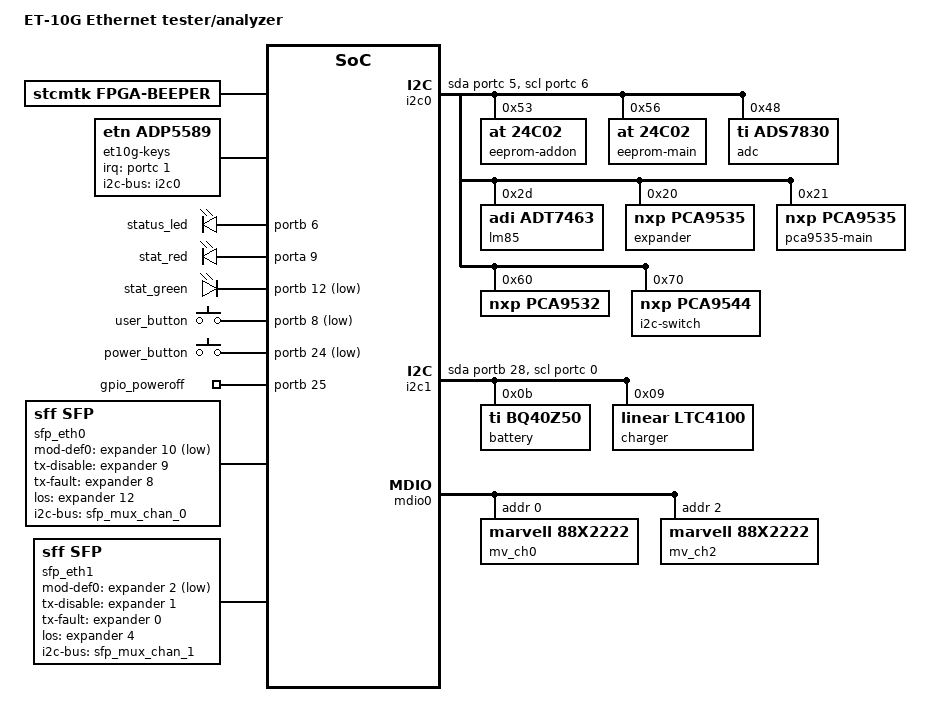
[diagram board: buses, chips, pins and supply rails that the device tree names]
/*
 * Copyright Altera Corporation (C) 2012,2014. All rights reserved.
 *
 * This program is free software; you can redistribute it and/or modify
 * it under the terms and conditions of the GNU General Public License,
 * version 2, as published by the Free Software Foundation.
 *
 * This program is distributed in the hope it will be useful, but WITHOUT
 * ANY WARRANTY; without even the implied warranty of MERCHANTABILITY or
 * FITNESS FOR A PARTICULAR PURPOSE.  See the GNU General Public License for
 * more details.
 *
 * You should have received a copy of the GNU General Public License along with
 * this program.  If not, see <http://www.gnu.org/licenses/>.
 */

#include <dt-bindings/leds/leds-pca9532.h>
#include "socfpga_cyclone5_stcmtk.dtsi"

/ {
	model = "ET-10G Ethernet tester/analyzer";

	cpu-gpio {
		compatible = "linux,gpio-exporter";
		status = "okay";
		exported-gpios = <&portb 19 GPIO_ACTIVE_HIGH>,
			<&portb 27 GPIO_ACTIVE_HIGH>,
			<&portb 22 GPIO_ACTIVE_HIGH>;
		exported-gpio-names = "sfpp-pwr-en",
			"eeprom-addon-write-protect",
			"smbus-alert";
		exported-gpio-directions = "high",
			"high",
			"in";
	};

	soc {
		ethernet@ff702000 {
			phy-mode = "rgmii-id";
		};

		
		etn-fb {
			compatible = "etn,fb";
			etn-fb,fps = <100>;
			etn-fb,use_fpga2sdram;
			target-fpga = <&fpga>;
		};

		fpga-beeper {
			compatible = "stcmtk,fpga-beeper";
			target-fpga = <&fpga>;
		};

		et10g-keys {
			compatible = "etn,adp5589";
			i2c-bus = <&i2c0>;
			addr = <0x34>;
			interrupt-parent = <&portc>;
			interrupts = <1 2>;
			adp5589,scan-cycle-time-ms = <40>;
			adp5589,pullup-300k = < (~0) >;
			linux,autorepeat-delay = <500>; /* miliseconds */
			linux,autorepeat-period = <50>; /* miliseconds */
			linux,keymap = <
				MATRIX_KEY(0, 0, KEY_KPASTERISK)
				MATRIX_KEY(1, 0, KEY_7)
				MATRIX_KEY(2, 0, KEY_4)
				MATRIX_KEY(3, 0, KEY_1)
				MATRIX_KEY(4, 0, KEY_HOME)
				MATRIX_KEY(5, 0, KEY_LEFT)
				MATRIX_KEY(6, 0, KEY_ESC)
				MATRIX_KEY(7, 0, KEY_F1)
				MATRIX_KEY(0, 1, KEY_0)
				MATRIX_KEY(1, 1, KEY_8)
				MATRIX_KEY(2, 1, KEY_5)
				MATRIX_KEY(3, 1, KEY_2)
				MATRIX_KEY(4, 1, KEY_DOWN)
				MATRIX_KEY(5, 1, KEY_UP)
				MATRIX_KEY(6, 1, KEY_F2)
				MATRIX_KEY(7, 1, KEY_F3)
				MATRIX_KEY(0, 2, KEY_GRAVE)
				MATRIX_KEY(1, 2, KEY_9)
				MATRIX_KEY(2, 2, KEY_6)
				MATRIX_KEY(3, 2, KEY_3)
				MATRIX_KEY(4, 2, KEY_END)
				MATRIX_KEY(5, 2, KEY_RIGHT)
				MATRIX_KEY(6, 2, KEY_ENTER)
				MATRIX_KEY(7, 2, KEY_F4)
				>;
		};

		i2c0: i2c@ffc04000 {
			scl-gpios = <&portc 6 GPIO_ACTIVE_HIGH>;
			sda-gpios = <&portc 5 GPIO_ACTIVE_HIGH>;

			eeprom-addon@53 {
				compatible = "at,24c02";
				reg = <0x53>;
				status = "okay";
			};

			eeprom-main@56 {
				compatible = "at,24c02";
				reg = <0x56>;
				status = "okay";
			};

			adc@48 {
				compatible = "ti,ads7830";
				reg = <0x48>;
				status = "okay";
			};

			lm85: lm85@2d {
				compatible = "adi,adt7463";
				reg = <0x2d>;
			};

			expander: pca9535-addon@20 {
				compatible = "nxp,pca9535";
				gpio-controller;
				#gpio-cells = <2>;
				reg = <0x20>;
				pinctrl-names = "default";
				/*
				interrupt-parent = <&portb>;
				interrupts = <23 IRQ_TYPE_LEVEL_LOW>;
				interrupt-controller;
				#interrupt-cells = <2>;
				*/
			};

			pca9535-main@21 {
				compatible = "nxp,pca9535";
				gpio-controller;
				#gpio-cells = <2>;
				reg = <0x21>;
				pinctrl-names = "default";
				/*
				interrupt-parent = <&portb>;
				interrupts = <23 IRQ_TYPE_LEVEL_LOW>;
				interrupt-controller;
				#interrupt-cells = <2>;
				*/
			};

			pca9532: pca9532@60 {
				compatible = "nxp,pca9532";
/*				gpio-controller;
				#gpio-cells = <2>;
				#address-cells = <1>;
				#size-cells = <0>;*/
				reg = <0x60>;
				status = "okay";

				green_led_0 {
					label = "green0";
					type = <PCA9532_TYPE_LED>;
				};
				green_led_1 {
					label = "green1";
					type = <PCA9532_TYPE_LED>;
				};
				green_led_2 {
					label = "green2";
					type = <PCA9532_TYPE_LED>;
				};
				green_led_3 {
					label = "green3";
					type = <PCA9532_TYPE_LED>;
				};
				green_led_4 {
					label = "green4";
					type = <PCA9532_TYPE_LED>;
				};
				green_led_5 {
					label = "green5";
					type = <PCA9532_TYPE_LED>;
				};
				green_led_6 {
					label = "green6";
					type = <PCA9532_TYPE_LED>;
				};
				green_led_7 {
					label = "green7";
					type = <PCA9532_TYPE_LED>;
				};
				red_led_0 {
					label = "red0";
					type = <PCA9532_TYPE_LED>;
				};
				red_led_1 {
					label = "red1";
					type = <PCA9532_TYPE_LED>;
				};
				red_led_2 {
					label = "red2";
					type = <PCA9532_TYPE_LED>;
				};
				red_led_3 {
					label = "red3";
					type = <PCA9532_TYPE_LED>;
				};
				red_led_4 {
					label = "red4";
					type = <PCA9532_TYPE_LED>;
				};
				red_led_5 {
					label = "red5";
					type = <PCA9532_TYPE_LED>;
				};
				red_led_6 {
					label = "red6";
					type = <PCA9532_TYPE_LED>;
				};
				red_led_7 {
					label = "red7";
					type = <PCA9532_TYPE_LED>;
				};
			};


			i2c-switch@70 {
				compatible = "nxp,pca9544";
				#address-cells = <0x1>;
				#size-cells = <0x0>;
				reg = <0x70>;
				i2c-mux-idle-disconnect;

				/* The following two nodes describe I2C busses
				* located behind the MUX on channels 0 and 1
				* (indexed from 0).
				*/
				sfp_mux_chan_0: i2c@0 {
					#address-cells = <0x1>;
					#size-cells = <0x0>;
					reg = <0>;
				};

				sfp_mux_chan_1: i2c@1 {
					#address-cells = <0x1>;
					#size-cells = <0x0>;
					reg = <1>;
				};

				/* The following two nodes describe I2C mux
				* channels 2 and 3 (indexed from 0) that have
				* no devices connected to them.
				*
				* It would be great to disable them at all so
				* that they would not appear in sysfs but we
				* couldn't find an easy and obvious way to
				* achieve this.
				*/
				sfp_mux_chan_2: i2c@2 {
					#address-cells = <1>;
					#size-cells = <0>;
					reg = <2>;
				};
				sfp_mux_chan_3: i2c@3 {
					#address-cells = <1>;
					#size-cells = <0>;
					reg = <3>;
				};
			};

		};

		i2c1: i2c@ffc05000 {
			status = "okay";
			scl-gpios = <&portc 0 GPIO_ACTIVE_HIGH>;
			sda-gpios = <&portb 28 GPIO_ACTIVE_HIGH>;
			battery@b {
				compatible = "ti,bq40z50";
				reg = <0x0b>;
			};

			charger@9 {
				compatible = "linear,ltc4100";
				reg = <0x09>;
			};

		};

		etn-port0 {
			compatible = "stcmtk,etln-10g";
			target-fpga = <&fpga>;
			port-num = <0>;
			phy-handle = <&mv_ch0>;
			phy-mode = "xaui";
			mac-address = [ 00 21 CE 4C 00 02 ];
		};

		etn-port1 {
			compatible = "stcmtk,etln-10g";
			target-fpga = <&fpga>;
			port-num = <1>;
			phy-handle = <&mv_ch2>;
			phy-mode = "xaui";
			mac-address = [ 00 21 CE 4C 00 03 ];
		};

		etn-phc@0 {
			reg = <0xc0020000 36>;
		};

		etn-phc@1 {
			reg = <0xc0020080 36>;
		};

		etn-phc-mux {
			reg = <0xc0020100 4>;
		};
	};

	leds-hps {
		compatible = "gpio-leds";
		hps0 {
			label = "status_led";
			gpios = <&portb 6 0>;
			linux,default-trigger = "default-on";
		};
		hps1 {
			label = "stat_red";
			gpios = <&porta 9 0>;
			linux,default-trigger = "none";
		};
		hps2 {
			label = "stat_green";
			gpios = <&portb 12 1>;
			linux,default-trigger = "default-on";
		};
	};

	gpio_keys {
		compatible = "gpio-keys";
		user_button {
			label = "user_button";
			gpios = <&portb 8 GPIO_ACTIVE_LOW>;
			linux,code = <2>;
			gpio-key,wakeup;
		};
		power_button {
			label = "power_button";
			gpios = <&portb 24 GPIO_ACTIVE_LOW>;
			linux,code = <116>;
			gpio-key,wakeup;
		};
/*		ltc4100_int {
			label = "ltc4100_int";
			gpios = <&portb 22 GPIO_ACTIVE_LOW>;
			linux,code = <236>;
			gpio-key,wakeup;
		};*/
	};

	gpio_poweroff {
		compatible = "gpio-poweroff";
		gpios = <&portb 25 GPIO_ACTIVE_HIGH>;
	};

	sfp_eth0: sfp-eth0 {
		compatible = "sff,sfp";
		i2c-bus = <&sfp_mux_chan_0>;
		pinctrl-names = "default";
		mod-def0-gpios = <&expander 10 GPIO_ACTIVE_LOW>;
		tx-disable-gpios = <&expander 9 GPIO_ACTIVE_HIGH>;
		tx-fault-gpios  = <&expander 8 GPIO_ACTIVE_HIGH>;
		los-gpios = <&expander 12 GPIO_ACTIVE_HIGH>;
	};

	sfp_eth1: sfp-eth1 {
		compatible = "sff,sfp";
		i2c-bus = <&sfp_mux_chan_1>;
		pinctrl-names = "default";
		mod-def0-gpios = <&expander 2 GPIO_ACTIVE_LOW>;
		tx-disable-gpios = <&expander 1 GPIO_ACTIVE_HIGH>;
		tx-fault-gpios  = <&expander 0 GPIO_ACTIVE_HIGH>;
		los-gpios = <&expander 4 GPIO_ACTIVE_HIGH>;
	};

	mdio0: mdio-0 {
		compatible = "stcmtk,et-10g-mdio";
		target-fpga = <&fpga>;
		#address-cells = <1>;
		#size-cells = <0>;
		status = "okay";

		mv_ch0:88X2222@0 {
			compatible = "marvell,88x2222", "ethernet-phy-ieee802.3-c45";
			reg = <0x0>;
			phy-mode = "xgmii";
			mv,line-mode = "KR";
			mv,host-mode = "KX4";
			sfp = <&sfp_eth0>;
			status = "okay";
		};

		mv_ch1:88X2222@1 {
			compatible = "marvell,88x2222", "ethernet-phy-ieee802.3-c45";
			reg = <0x1>;
			phy-mode = "xgmii";
			mv,line-mode = "KR";
			mv,host-mode = "KX4";
			status = "disabled";
		};

		mv_ch2:88X2222@2 {
			compatible = "marvell,88x2222", "ethernet-phy-ieee802.3-c45";
			reg = <0x2>;
			phy-mode = "xgmii";
			mv,line-mode = "KR";
			mv,host-mode = "KX4";
			sfp = <&sfp_eth1>;
			status = "okay";
		};

		mv_ch3:88X2222@3 {
			compatible = "marvell,88x2222", "ethernet-phy-ieee802.3-c45";
			reg = <0x3>;
			phy-mode = "xgmii";
			mv,line-mode = "KR";
			mv,host-mode = "KX4";
			status = "disabled";
		};

	};
};
